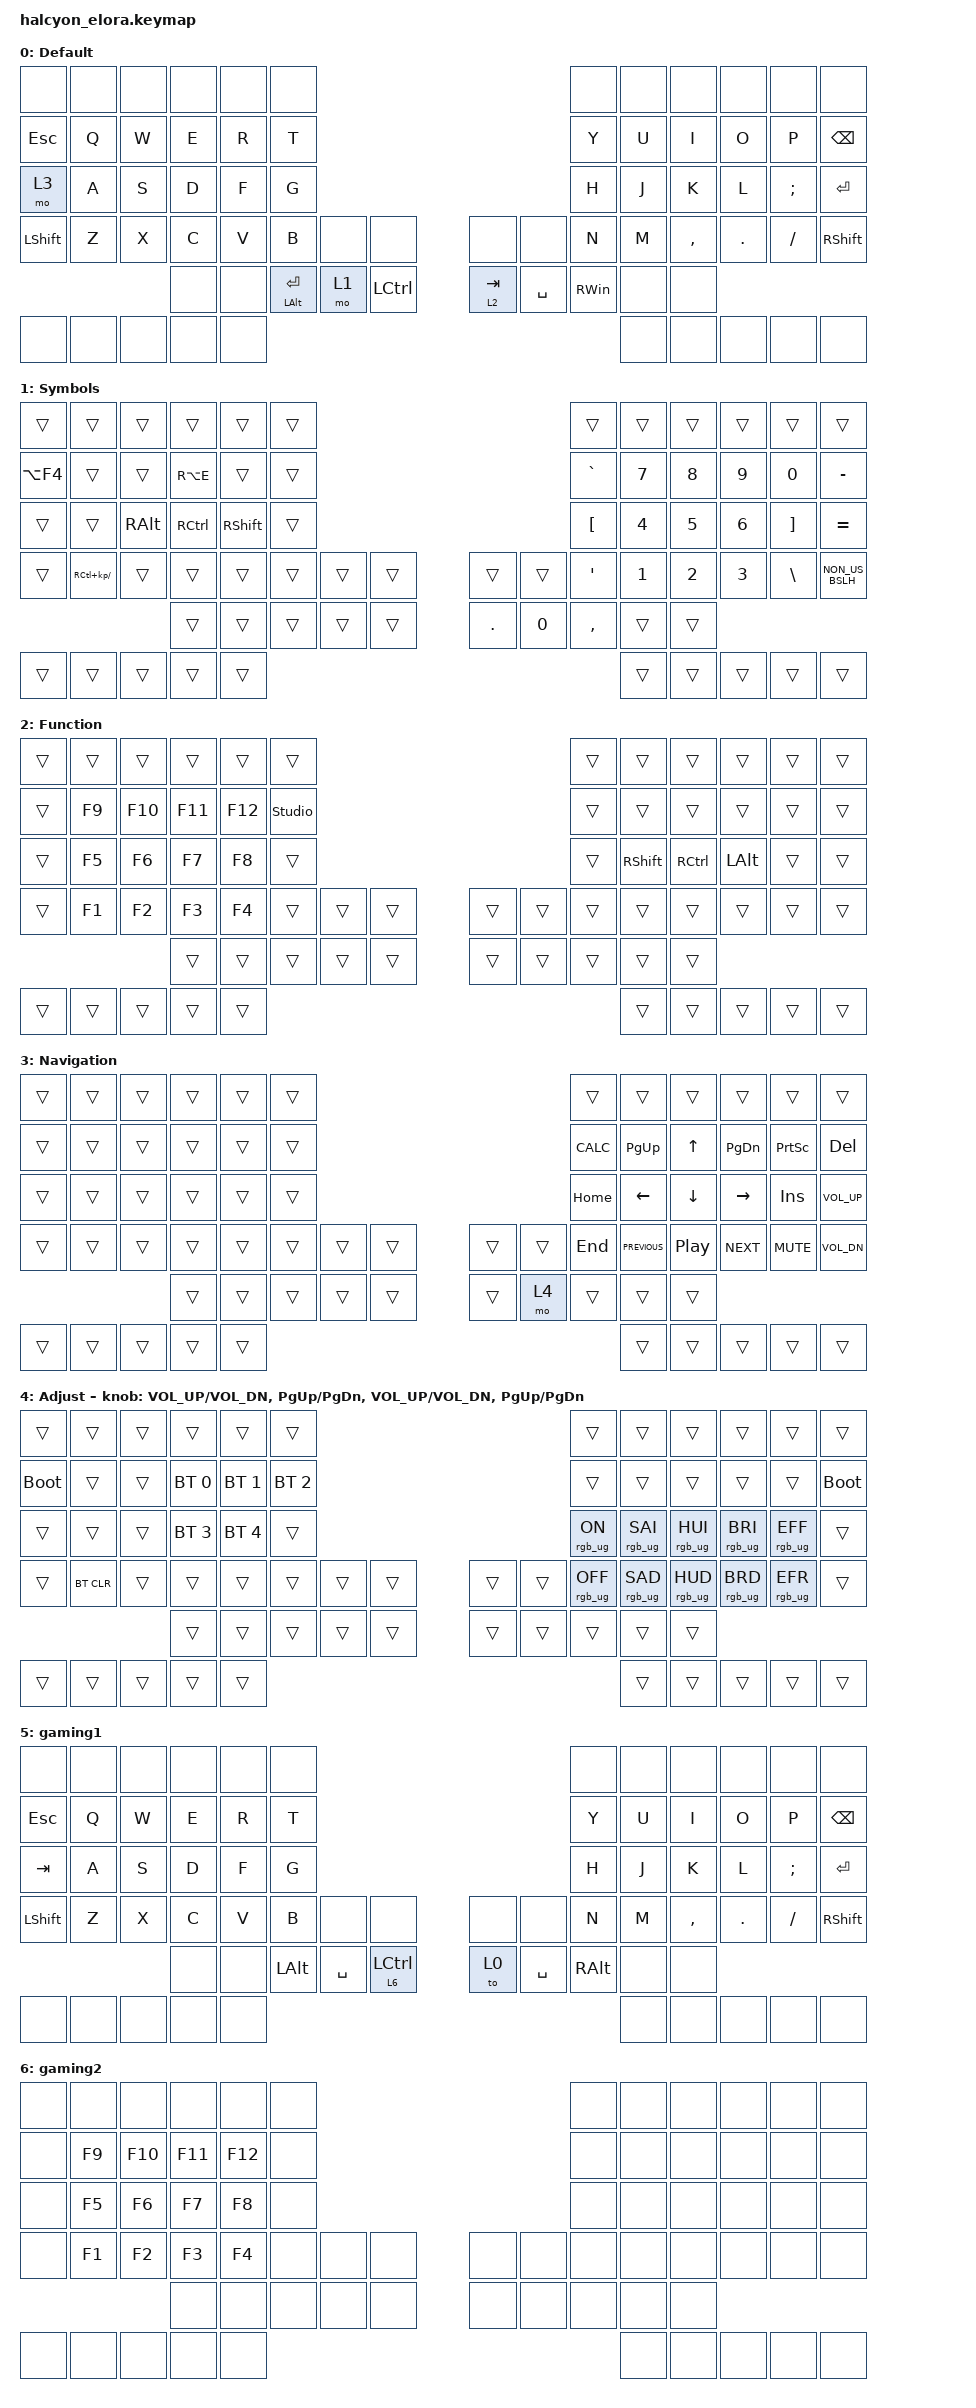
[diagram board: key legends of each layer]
/*
 * Copyright (c) 2023 The ZMK Contributors
 * Copyright (c) 2026 Splitkb.com
 *
 * SPDX-License-Identifier: MIT
 */

#include <behaviors.dtsi>
#include <dt-bindings/zmk/bt.h>
#include <dt-bindings/zmk/keys.h>
#include <dt-bindings/zmk/rgb.h>

#define DEFAULT  0
#define NAV      1
#define SYM      2
#define FUNCTION 3
#define ADJUST   4

&lt {
    tapping-term-ms = <170>;
    flavor = "balanced";
};

/ {
    combos {
        compatible = "zmk,combos";

        CapsLock {
            bindings = <&kp CAPSLOCK>;
            key-positions = <36 51>;
            layers = <0>;
        };

        right_parenthesis {
            bindings = <&kp LS(N8)>;
            key-positions = <27 28>;
            layers = <0>;
        };

        left_parenthesis {
            bindings = <&kp LS(N9)>;
            key-positions = <31 32>;
            layers = <0>;
        };

        left_brace {
            bindings = <&kp RA(N7)>;
            key-positions = <39 40>;
            layers = <0>;
        };

        right_brace {
            bindings = <&kp RA(N0)>;
            key-positions = <47 48>;
            layers = <0>;
        };

        gaming {
            bindings = <&to 5>;
            key-positions = <56 57>;
            layers = <0>;
        };
    };

    keymap {
        compatible = "zmk,keymap";

        qwerty_layer {
            display-name = "Default";

            // ---------------------------------------------------------------------------------------------------------------
            // |  ESC  |  1   |  2  |  3  |  4  |   5   |                               |  6  |  7  |  8  |  9  |  0  | BSPC |
            // |  TAB  |  Q   |  W  |  E  |  R  |   T   |                               |  Y  |  U  |  I  |  O  |  P  | BSPC |
            // |LC(ESC)|  A   |  S  |  D  |  F  |   G   |                               |  H  |  J  |  K  |  L  |  ;  |  '   |
            // |  SHFT |  Z   |  X  |  C  |  V  |   B   | LBKT | CAPS |   | FUNC | RBKT |  N  |  M  |  ,  |  .  |  /  | SHFT |
            //                      | ADJ | GUI |LA(ENT)| SPC  | NAV  |   | SYM  | SPC  | ALT | GUI | APP |

            bindings = <
&none       &none  &none  &none  &none  &none                                                        &none          &none  &none      &none    &none     &none
&kp ESCAPE  &kp Q  &kp W  &kp E  &kp R  &kp T                                                        &kp Y          &kp U  &kp I      &kp O    &kp P     &kp BSPC
&mo 3       &kp A  &kp S  &kp D  &kp F  &kp G                                                        &kp H          &kp J  &kp K      &kp L    &kp SEMI  &kp ENTER
&kp LSHFT   &kp Z  &kp X  &kp C  &kp V  &kp B         &none  &none             &none      &none      &kp N          &kp M  &kp COMMA  &kp DOT  &kp FSLH  &kp RSHFT
                          &none  &none  &mt LALT RET  &mo 1  &kp LEFT_CONTROL  &lt 2 TAB  &kp SPACE  &kp RIGHT_WIN  &none  &none
&none       &none  &none  &none  &none                                                                              &none  &none      &none    &none     &none
            >;
        };

        symbol_layer {
            display-name = "Symbols";

            // -----------------------------------------------------------------------------------------------------
            // |     |     |     |     |     |     |                           |     |     |     |     |     |     |
            // |  `  |  1  |  2  |  3  |  4  |  5  |                           |  6  |  7  |  8  |  9  |  0  |  =  |
            // |  ~  |  !  |  @  |  #  |  $  |  %  |                           |  ^  |  &  |  *  |  (  |  )  |  +  |
            // | "|" |  \  |  :  |  ;  |  -  |  [  |  {  |     |   |     |  }  |  ]  |  _  |  ,  |  .  |  /  |  ?  |
            //                   |     |     |     |     |     |   |     |     |     |     |     |

            bindings = <
&trans      &trans             &trans         &trans             &trans           &trans                                      &trans            &trans        &trans        &trans        &trans             &trans
&kp LA(F4)  &trans             &trans         &kp RA(E)          &trans           &trans                                      &kp GRAVE         &kp N7        &kp N8        &kp N9        &kp N0             &kp MINUS
&trans      &trans             &kp RIGHT_ALT  &kp RIGHT_CONTROL  &kp RIGHT_SHIFT  &trans                                      &kp LEFT_BRACKET  &kp NUMBER_4  &kp N5        &kp NUMBER_6  &kp RIGHT_BRACKET  &kp EQUAL
&trans      &kp RC(KP_DIVIDE)  &trans         &trans             &trans           &trans  &trans  &trans  &trans      &trans  &kp APOS          &kp NUMBER_1  &kp NUMBER_2  &kp NUMBER_3  &kp BACKSLASH      &kp NON_US_BSLH
                                              &trans             &trans           &trans  &trans  &trans  &kp PERIOD  &kp N0  &kp COMMA         &trans        &trans
&trans      &trans             &trans         &trans             &trans                                                                         &trans        &trans        &trans        &trans             &trans
            >;
        };

        function_layer {
            display-name = "Function";

            // -----------------------------------------------------------------------------------------------------
            // |     |     |     |     |     |     |                           |     |     |     |     |     |     |
            // |     | F9  | F10 | F11 | F12 |     |                           |     |     |     |     |     |     |
            // |     | F5  | F6  | F7  | F8  |     |                           |     |RSHFT|RCTRL| LALT| RGUI|     |
            // |     | F1  | F2  | F3  | F4  |     |     |     |   |     |     |     |     |     |     |     |     |
            //                   |     |     |     |     |     |   |     |     |     |     |     |

            bindings = <
&trans  &trans  &trans   &trans   &trans   &trans                                          &trans  &trans     &trans     &trans    &trans  &trans
&trans  &kp F9  &kp F10  &kp F11  &kp F12  &studio_unlock                                  &trans  &trans     &trans     &trans    &trans  &trans
&trans  &kp F5  &kp F6   &kp F7   &kp F8   &trans                                          &trans  &kp RSHFT  &kp RCTRL  &kp LALT  &trans  &trans
&trans  &kp F1  &kp F2   &kp F3   &kp F4   &trans          &trans  &trans  &trans  &trans  &trans  &trans     &trans     &trans    &trans  &trans
                         &trans   &trans   &trans          &trans  &trans  &trans  &trans  &trans  &trans     &trans
&trans  &trans  &trans   &trans   &trans                                                           &trans     &trans     &trans    &trans  &trans
            >;
        };

        navigation_layer {
            display-name = "Navigation";

            // ------------------------------------------------------------------------------------------------------------
            // |     |     |     |     |     |STDIO|                            |       |      |     |     |       |      |
            // |     |     |     |     |     |     |                            | PG_UP | HOME | UP  | END | VOL_UP| DEL  |
            // |     | GUI | ALT | CTL | SHFT|     |                            | PG_DN | LEFT | DOWN| RGT | VOL_DN| INS  |
            // |     |     |     |     |     |     |     | SLCK |   |     |     | PAUSE | PREV | PLAY| NEXT| MUTE  | PSCRN|
            //                   |     |     |     |     |      |   |     |     |       |      |     |

            bindings = <
&trans  &trans  &trans  &trans  &trans  &trans                                  &trans      &trans          &trans            &trans      &trans      &trans
&trans  &trans  &trans  &trans  &trans  &trans                                  &kp K_CALC  &kp PG_UP       &kp UP            &kp PG_DN   &kp PSCRN   &kp DEL
&trans  &trans  &trans  &trans  &trans  &trans                                  &kp HOME    &kp LEFT        &kp DOWN          &kp RIGHT   &kp INS     &kp C_VOLUME_UP
&trans  &trans  &trans  &trans  &trans  &trans  &trans  &trans  &trans  &trans  &kp END     &kp C_PREVIOUS  &kp C_PLAY_PAUSE  &kp C_NEXT  &kp K_MUTE  &kp C_VOL_DN
                        &trans  &trans  &trans  &trans  &trans  &trans  &mo 4   &trans      &trans          &trans
&trans  &trans  &trans  &trans  &trans                                                      &trans          &trans            &trans      &trans      &trans
            >;
        };

        adjust_layer {
            display-name = "Adjust";

            // -----------------------------------------------------------------------------------------------------------------------
            // |     |     |     |     |     |     |                           |       |       |       |       |       |     |
            // | BOOT|     |BTCLR| BT1 | BT2 | BT3 |                           |       |       |       |       |       |BOOT |
            // |     |     |     | BT4 | BT5 |     |                           | RGB_ON|RGB_HUI|RGB_SAI|RGB_BRI|RGB_EFF|     |
            // |     |     |     |     |     |     |     |     |   |     |     |RGB_OFF|RGB_HUD|RGB_SAD|RGB_BRD|RGB_EFR|     |
            //                   |     |     |     |     |     |   |     |     |       |       |       |

            bindings = <
&trans       &trans      &trans  &trans        &trans        &trans                                        &trans           &trans           &trans           &trans           &trans           &trans
&bootloader  &trans      &trans  &bt BT_SEL 0  &bt BT_SEL 1  &bt BT_SEL 2                                  &trans           &trans           &trans           &trans           &trans           &bootloader
&trans       &trans      &trans  &bt BT_SEL 3  &bt BT_SEL 4  &trans                                        &rgb_ug RGB_ON   &rgb_ug RGB_SAI  &rgb_ug RGB_HUI  &rgb_ug RGB_BRI  &rgb_ug RGB_EFF  &trans
&trans       &bt BT_CLR  &trans  &trans        &trans        &trans        &trans  &trans  &trans  &trans  &rgb_ug RGB_OFF  &rgb_ug RGB_SAD  &rgb_ug RGB_HUD  &rgb_ug RGB_BRD  &rgb_ug RGB_EFR  &trans
                                 &trans        &trans        &trans        &trans  &trans  &trans  &trans  &trans           &trans           &trans
&trans       &trans      &trans  &trans        &trans                                                                       &trans           &trans           &trans           &trans           &trans
            >;

            sensor-bindings = <&inc_dec_kp C_VOL_UP C_VOL_DN &inc_dec_kp PG_UP PG_DN &inc_dec_kp C_VOL_UP C_VOL_DN &inc_dec_kp PG_UP PG_DN>;
        };

        gaming1 {
            display-name = "gaming1";
            bindings = <
&none      &none  &none  &none  &none  &none                                                      &none     &none  &none      &none    &none     &none
&kp ESC    &kp Q  &kp W  &kp E  &kp R  &kp T                                                      &kp Y     &kp U  &kp I      &kp O    &kp P     &kp BSPC
&kp TAB    &kp A  &kp S  &kp D  &kp F  &kp G                                                      &kp H     &kp J  &kp K      &kp L    &kp SEMI  &kp ENTER
&kp LSHFT  &kp Z  &kp X  &kp C  &kp V  &kp B     &none      &none               &none  &none      &kp N     &kp M  &kp COMMA  &kp DOT  &kp FSLH  &kp RSHFT
                         &none  &none  &kp LALT  &kp SPACE  &lt 6 LEFT_CONTROL  &to 0  &kp SPACE  &kp RALT  &none  &none
&none      &none  &none  &none  &none                                                                       &none  &none      &none    &none     &none
            >;

            label = "gaming1";
        };

        gaming2 {
            bindings = <
&none  &none   &none    &none    &none    &none                              &none  &none  &none  &none  &none  &none
&none  &kp F9  &kp F10  &kp F11  &kp F12  &none                              &none  &none  &none  &none  &none  &none
&none  &kp F5  &kp F6   &kp F7   &kp F8   &none                              &none  &none  &none  &none  &none  &none
&none  &kp F1  &kp F2   &kp F3   &kp F4   &none  &none  &none  &none  &none  &none  &none  &none  &none  &none  &none
                        &none    &none    &none  &none  &none  &none  &none  &none  &none  &none
&none  &none   &none    &none    &none                                              &none  &none  &none  &none  &none
            >;

            label = "gaming2";
        };
    };
};
